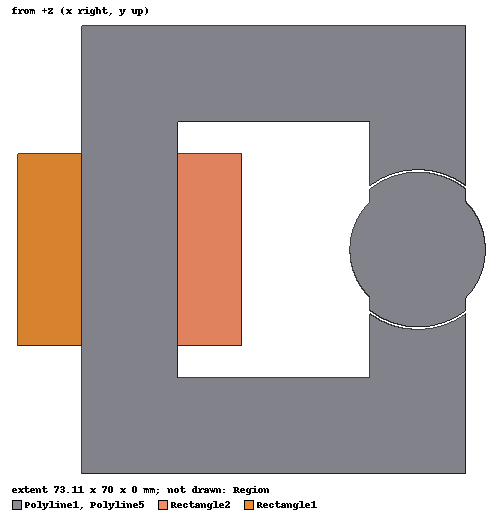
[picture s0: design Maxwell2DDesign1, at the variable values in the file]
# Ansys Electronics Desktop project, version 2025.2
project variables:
  $theta = 0deg
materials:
  vacuum: permittivity=1
  ferrite: permittivity=12 permeability=1000 conductivity=0.01
  copper: permeability=0.999991 conductivity=58000000
  air: permittivity=1.0006 permeability=1.0000004

design Maxwell2DDesign1 (Maxwell 2D, Magnetostatic, XY geometry, model units mm)
options: ModelDepth=1meter
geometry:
  point Point1 = (50mm, 0mm, 0mm)
  point Point2 = (50mm, 0mm, 0mm)
  point Point3 = (52.5mm, 0mm, 0mm)
  Polyline1 [ferrite] = polyline(z=0mm, xy in mm: (0, 35) (0, -35) (60, -35) (60, -10) (52.5, -12.5) (45, -10) (45, -20) (15, -20) (15, 20) (45, 20) (45, 10) (52.5, 12.5) (60, 10) (60, 35) (0, 35), closed, covered, AngularArc from point 3 over 3 centre=(52.5mm, 0mm, 0mm) angle=-73.739795deg plane=XY, AngularArc from point 10 over 3 centre=(52.5mm, 0mm, 0mm) angle=-73.739795deg plane=XY)
  Polyline5 [ferrite] = polyline(z=0mm, xy in mm: (45, -7.5) (41.893398, -3.5527137e-15) (45, 7.5) (45, 9.5) (52.5, 12.103718) (60, 9.5) (60, 7.5) (63.106602, -1.7763568e-15) (60, -7.5) (60, -9.5) (52.5, -12.103718) (45, -9.5) (45, -7.5), closed, covered, AngularArc from point 0 over 3 centre=(52.5mm, 0mm, 0mm) angle=-90deg plane=XY, AngularArc from point 3 over 3 centre=(52.5mm, 0mm, 0mm) angle=-76.580326deg plane=XY, AngularArc from point 6 over 3 centre=(52.5mm, 0mm, 0mm) angle=-90deg plane=XY, AngularArc from point 9 over 3 centre=(52.5mm, 0mm, 0mm) angle=-76.580326deg plane=XY)
  coordinate_system RelativeCS1 = origin=(52.5mm, 0mm, 0mm) x=(1mm, 0mm, 0mm) y=(0mm, 1mm, 0mm)
  Polyline5.rotate(axis=Z, angle=$theta) in RelativeCS1
  Rectangle1 [copper] = rectangle(corner=(-62.5mm, -15mm, 0mm), x_size=10mm, y_size=30mm) in RelativeCS1
  Rectangle2 [copper] = rectangle(corner=((-52.5+15) mm, -15mm, 0mm), x_size=10mm, y_size=30mm) in RelativeCS1
  Region [vacuum] = region(percentage_offset: +X=40, -X=40, +Y=40, -Y=40, +Z=0, -Z=0) in RelativeCS1
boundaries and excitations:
  Balloon1: Balloon Edges=Region.edge(all 4)
  Rectangle1: Coil Objects=Rectangle1 Conductor_number=300 Winding=Winding1 PolarityType=Positive
  Rectangle2: Coil Objects=Rectangle2 Conductor_number=300 Winding=Winding1 PolarityType=Negative
  Winding1: Winding Group Type=Current IsSolid=false Current=2.5A ParallelBranchesNum=1
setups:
  Setup1: Magnetostatic MaximumPasses=10 MinimumPasses=2 MinimumConvergedPasses=1 PercentRefinement=30 PercentError=1 NonLinearResidual=0.0001
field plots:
  B_Vector1: B over Polyline1 on Setup1 : LastAdaptive
  B_Vector2: B over Region, Polyline5, Polyline1, Rectangle2, Rectangle1 on Setup1 : LastAdaptive
